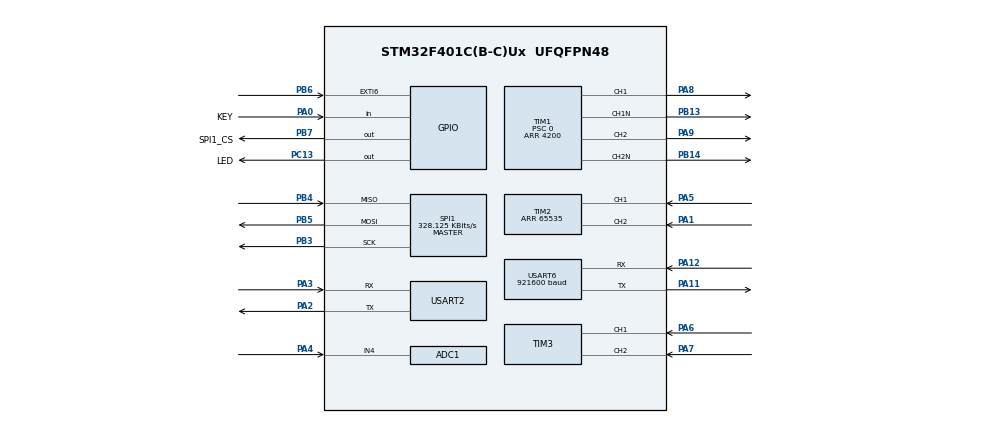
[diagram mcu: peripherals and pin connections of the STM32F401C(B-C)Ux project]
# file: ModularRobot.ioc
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ADC1.Channel-0\#ChannelRegularConversion=ADC_CHANNEL_VREFINT
ADC1.Channel-1\#ChannelRegularConversion=ADC_CHANNEL_4
ADC1.Channel-3\#ChannelRegularConversion=ADC_CHANNEL_TEMPSENSOR
ADC1.ClockPrescaler=ADC_CLOCK_SYNC_PCLK_DIV6
ADC1.ContinuousConvMode=ENABLE
ADC1.DMAContinuousRequests=ENABLE
ADC1.NbrOfConversion=3
ADC1.NbrOfConversionFlag=1
ADC1.Rank-0\#ChannelRegularConversion=1
ADC1.Rank-1\#ChannelRegularConversion=2
ADC1.Rank-3\#ChannelRegularConversion=3
ADC1.SamplingTime-0\#ChannelRegularConversion=ADC_SAMPLETIME_480CYCLES
ADC1.SamplingTime-1\#ChannelRegularConversion=ADC_SAMPLETIME_480CYCLES
ADC1.SamplingTime-3\#ChannelRegularConversion=ADC_SAMPLETIME_480CYCLES
ADC1.master=1
Dma.ADC1.4.Direction=DMA_PERIPH_TO_MEMORY
Dma.ADC1.4.FIFOMode=DMA_FIFOMODE_DISABLE
Dma.ADC1.4.Instance=DMA2_Stream0
Dma.ADC1.4.MemDataAlignment=DMA_MDATAALIGN_HALFWORD
Dma.ADC1.4.MemInc=DMA_MINC_ENABLE
Dma.ADC1.4.Mode=DMA_CIRCULAR
Dma.ADC1.4.PeriphDataAlignment=DMA_PDATAALIGN_HALFWORD
Dma.ADC1.4.PeriphInc=DMA_PINC_DISABLE
Dma.ADC1.4.Priority=DMA_PRIORITY_LOW
Dma.Request0=USART6_RX
Dma.Request1=USART6_TX
Dma.Request2=USART2_RX
Dma.Request3=USART2_TX
Dma.Request4=ADC1
Dma.USART2_RX.2.Direction=DMA_PERIPH_TO_MEMORY
Dma.USART2_RX.2.FIFOMode=DMA_FIFOMODE_DISABLE
Dma.USART2_RX.2.Instance=DMA1_Stream5
Dma.USART2_RX.2.MemDataAlignment=DMA_MDATAALIGN_BYTE
Dma.USART2_RX.2.MemInc=DMA_MINC_ENABLE
Dma.USART2_RX.2.Mode=DMA_CIRCULAR
Dma.USART2_RX.2.PeriphDataAlignment=DMA_PDATAALIGN_BYTE
Dma.USART2_RX.2.PeriphInc=DMA_PINC_DISABLE
Dma.USART2_RX.2.Priority=DMA_PRIORITY_LOW
Dma.USART2_TX.3.Direction=DMA_MEMORY_TO_PERIPH
Dma.USART2_TX.3.FIFOMode=DMA_FIFOMODE_DISABLE
Dma.USART2_TX.3.Instance=DMA1_Stream6
Dma.USART2_TX.3.MemDataAlignment=DMA_MDATAALIGN_BYTE
Dma.USART2_TX.3.MemInc=DMA_MINC_ENABLE
Dma.USART2_TX.3.Mode=DMA_NORMAL
Dma.USART2_TX.3.PeriphDataAlignment=DMA_PDATAALIGN_BYTE
Dma.USART2_TX.3.PeriphInc=DMA_PINC_DISABLE
Dma.USART2_TX.3.Priority=DMA_PRIORITY_LOW
Dma.USART6_RX.0.Direction=DMA_PERIPH_TO_MEMORY
Dma.USART6_RX.0.FIFOMode=DMA_FIFOMODE_DISABLE
Dma.USART6_RX.0.Instance=DMA2_Stream1
Dma.USART6_RX.0.MemDataAlignment=DMA_MDATAALIGN_BYTE
Dma.USART6_RX.0.MemInc=DMA_MINC_ENABLE
Dma.USART6_RX.0.Mode=DMA_CIRCULAR
Dma.USART6_RX.0.PeriphDataAlignment=DMA_PDATAALIGN_BYTE
Dma.USART6_RX.0.PeriphInc=DMA_PINC_DISABLE
Dma.USART6_RX.0.Priority=DMA_PRIORITY_LOW
Dma.USART6_TX.1.Direction=DMA_MEMORY_TO_PERIPH
Dma.USART6_TX.1.FIFOMode=DMA_FIFOMODE_DISABLE
Dma.USART6_TX.1.Instance=DMA2_Stream6
Dma.USART6_TX.1.MemDataAlignment=DMA_MDATAALIGN_BYTE
Dma.USART6_TX.1.MemInc=DMA_MINC_ENABLE
Dma.USART6_TX.1.Mode=DMA_NORMAL
Dma.USART6_TX.1.PeriphDataAlignment=DMA_PDATAALIGN_BYTE
Dma.USART6_TX.1.PeriphInc=DMA_PINC_DISABLE
Dma.USART6_TX.1.Priority=DMA_PRIORITY_LOW
Mcu.Family=STM32F4
Mcu.Name=STM32F401C(B-C)Ux
Mcu.Package=UFQFPN48
NVIC.PriorityGroup=NVIC_PRIORITYGROUP_4
NVIC.TIM1_TRG_COM_TIM11_IRQn=true\:0\:0\:false\:false\:true\:true\:true\:true
NVIC.TIM2_IRQn=true\:0\:0\:false\:false\:true\:true\:true\:true
NVIC.TIM3_IRQn=true\:0\:0\:false\:false\:true\:true\:true\:true
NVIC.USART2_IRQn=true\:1\:0\:true\:false\:true\:true\:true\:true
NVIC.USART6_IRQn=true\:1\:0\:true\:false\:true\:true\:true\:true
PA0-WKUP.GPIO_Label=KEY
PA0-WKUP.GPIO_PuPd=GPIO_PULLUP
PA0-WKUP.Signal=GPIO_Input
PA1.GPIO_PuPd=GPIO_PULLUP
PA1.GPIO_Speed=GPIO_SPEED_FREQ_VERY_HIGH
PA1.Signal=S_TIM2_CH2
PA11.Mode=Asynchronous
PA11.Signal=USART6_TX
PA12.Mode=Asynchronous
PA12.Signal=USART6_RX
PA13.Mode=Serial_Wire
PA13.Signal=SYS_JTMS-SWDIO
PA14.Mode=Serial_Wire
PA14.Signal=SYS_JTCK-SWCLK
PA2.Mode=Asynchronous
PA2.Signal=USART2_TX
PA3.Mode=Asynchronous
PA3.Signal=USART2_RX
PA4.Signal=ADCx_IN4
PA5.GPIO_PuPd=GPIO_PULLUP
PA5.GPIO_Speed=GPIO_SPEED_FREQ_VERY_HIGH
PA5.Signal=S_TIM2_CH1_ETR
PA6.GPIO_PuPd=GPIO_PULLUP
PA6.GPIO_Speed=GPIO_SPEED_FREQ_VERY_HIGH
PA6.Signal=S_TIM3_CH1
PA7.GPIO_PuPd=GPIO_PULLUP
PA7.GPIO_Speed=GPIO_SPEED_FREQ_VERY_HIGH
PA7.Signal=S_TIM3_CH2
PA8.Signal=S_TIM1_CH1
PA9.GPIO_Speed=GPIO_SPEED_FREQ_VERY_HIGH
PA9.Signal=S_TIM1_CH2
PB13.Mode=PWM Generation1 CH1 CH1N
PB13.Signal=TIM1_CH1N
PB14.Mode=PWM Generation2 CH2 CH2N
PB14.Signal=TIM1_CH2N
PB3.GPIO_PuPd=GPIO_PULLUP
PB3.Mode=Full_Duplex_Master
PB3.Signal=SPI1_SCK
PB4.GPIO_PuPd=GPIO_PULLUP
PB4.Mode=Full_Duplex_Master
PB4.Signal=SPI1_MISO
PB5.GPIO_PuPd=GPIO_PULLUP
PB5.Mode=Full_Duplex_Master
PB5.Signal=SPI1_MOSI
PB6.GPIO_PuPd=GPIO_PULLUP
PB6.Signal=GPXTI6
PB7.GPIO_Label=SPI1_CS
PB7.GPIO_PuPd=GPIO_PULLUP
PB7.GPIO_Speed=GPIO_SPEED_FREQ_VERY_HIGH
PB7.PinState=GPIO_PIN_SET
PB7.Signal=GPIO_Output
PC13-ANTI_TAMP.GPIO_Label=LED
PC13-ANTI_TAMP.PinState=GPIO_PIN_SET
PC13-ANTI_TAMP.Signal=GPIO_Output
PH0\ -\ OSC_IN.Mode=HSE-External-Oscillator
PH0\ -\ OSC_IN.Signal=RCC_OSC_IN
PH1\ -\ OSC_OUT.Mode=HSE-External-Oscillator
PH1\ -\ OSC_OUT.Signal=RCC_OSC_OUT
ProjectManager.HeapSize=0x200
ProjectManager.StackSize=0x400
ProjectManager.TargetToolchain=Makefile
RCC.48MHZClocksFreq_Value=42000000
RCC.AHBFreq_Value=84000000
RCC.APB1CLKDivider=RCC_HCLK_DIV2
RCC.APB1Freq_Value=42000000
RCC.APB1TimFreq_Value=84000000
RCC.APB2Freq_Value=84000000
RCC.APB2TimFreq_Value=84000000
RCC.CortexFreq_Value=84000000
RCC.EnbaleCSS=true
RCC.HCLKFreq_Value=84000000
RCC.HSE_VALUE=25000000
RCC.HSI_VALUE=16000000
RCC.LSE_VALUE=32768
RCC.PLLM=25
RCC.PLLN=168
RCC.PLLSourceVirtual=RCC_PLLSOURCE_HSE
RCC.SYSCLKFreq_VALUE=84000000
RCC.SYSCLKSource=RCC_SYSCLKSOURCE_PLLCLK
RCC.VCOOutputFreq_Value=168000000
SH.ADCx_IN4.0=ADC1_IN4,IN4
SH.S_TIM1_CH1.0=TIM1_CH1,PWM Generation1 CH1 CH1N
SH.S_TIM1_CH2.0=TIM1_CH2,PWM Generation2 CH2 CH2N
SH.S_TIM2_CH1_ETR.0=TIM2_CH1,Encoder_Interface
SH.S_TIM2_CH2.0=TIM2_CH2,Encoder_Interface
SH.S_TIM3_CH1.0=TIM3_CH1,Encoder_Interface
SH.S_TIM3_CH2.0=TIM3_CH2,Encoder_Interface
SPI1.BaudRatePrescaler=SPI_BAUDRATEPRESCALER_256
SPI1.CLKPhase=SPI_PHASE_2EDGE
SPI1.CLKPolarity=SPI_POLARITY_HIGH
SPI1.CalculateBaudRate=328.125 KBits/s
SPI1.Direction=SPI_DIRECTION_2LINES
SPI1.Mode=SPI_MODE_MASTER
SPI1.VirtualType=VM_MASTER
TIM1.AutoReloadPreload=TIM_AUTORELOAD_PRELOAD_DISABLE
TIM1.Channel-PWM\ Generation1\ CH1\ CH1N=TIM_CHANNEL_1
TIM1.Channel-PWM\ Generation2\ CH2\ CH2N=TIM_CHANNEL_2
TIM1.OCNPolarity_1=TIM_OCNPOLARITY_LOW
TIM1.OCNPolarity_2=TIM_OCNPOLARITY_LOW
TIM1.Period=4200
TIM1.Prescaler=0
TIM11.Period=1000
TIM11.Prescaler=83
TIM2.EncoderMode=TIM_ENCODERMODE_TI12
TIM2.Period=65535
TIM3.EncoderMode=TIM_ENCODERMODE_TI12
USART2.VirtualMode=VM_ASYNC
USART6.BaudRate=921600
USART6.VirtualMode=VM_ASYNC
VP_ADC1_TempSens_Input.Mode=IN-TempSens
VP_ADC1_Vref_Input.Mode=IN-Vrefint
VP_TIM11_VS_ClockSourceINT.Mode=Enable_Timer
VP_TIM1_VS_ClockSourceINT.Mode=Internal
board=custom

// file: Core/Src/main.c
/* USER CODE BEGIN Header */
/**
  ******************************************************************************
  * @file           : main.c
  * @brief          : Main program body
  ******************************************************************************
  * @attention
  *
  * Copyright (c) 2023 STMicroelectronics.
  * All rights reserved.
  *
  * This software is licensed under terms that can be found in the LICENSE file
  * in the root directory of this software component.
  * If no LICENSE file comes with this software, it is provided AS-IS.
  *
  ******************************************************************************
  */
/* USER CODE END Header */
#include "main.h"
#include "adc.h"
#include "dma.h"
#include "spi.h"
#include "tim.h"
#include "usart.h"
#include "gpio.h"

/* USER CODE BEGIN PV */
volatile uint8_t timer_1ms = 0;
uint8_t timer_10ms = 0;
uint8_t timer_5ms = 0;
uint8_t timer_100ms = 0;
uint8_t timer_300ms = 0;
uint8_t timer_500ms = 0;
uint8_t blink_count = 0;
uint16_t rxLen = 0;
char buffer[128] = {0};
char command_buffer[MAX_COMMAND_WORD_LENGTH] = {0};
float arg_buffer[MAX_FLOAT_ARG_COUNT] = {0.0f};
uint8_t arg_buffer_len = 0;
/* USER CODE END PV */

void SystemClock_Config(void);
/* USER CODE BEGIN PFP */
void UART_CommandHandler(UART_InstanceTypeDef *uart_handler);
/* USER CODE END PFP */

int main(void)
{

  /* MCU Configuration--------------------------------------------------------*/

  /* Reset of all peripherals, Initializes the Flash interface and the Systick. */
  LL_APB2_GRP1_EnableClock(LL_APB2_GRP1_PERIPH_SYSCFG);
  LL_APB1_GRP1_EnableClock(LL_APB1_GRP1_PERIPH_PWR);

  /* System interrupt init*/
  NVIC_SetPriorityGrouping(NVIC_PRIORITYGROUP_4);

  /* SysTick_IRQn interrupt configuration */
  NVIC_SetPriority(SysTick_IRQn, NVIC_EncodePriority(NVIC_GetPriorityGrouping(),15, 0));

  /* Configure the system clock */
  SystemClock_Config();

  /* Initialize all configured peripherals */
  MX_GPIO_Init();
  MX_DMA_Init();
  MX_TIM2_Init();
  MX_TIM1_Init();
  MX_USART6_UART_Init();
  MX_SPI1_Init();
  MX_TIM3_Init();
  MX_USART2_UART_Init();
  MX_TIM11_Init();
  MX_ADC1_Init();
  /* USER CODE BEGIN 2 */
  DWT_Delay_Init();
  // LL Driver turns off SysTick_Handler() interrupt without SysTick_CTRL_TICKINT_Msk set.
  SysTick->CTRL = SysTick_CTRL_CLKSOURCE_Msk |
                  SysTick_CTRL_TICKINT_Msk |
                  SysTick_CTRL_ENABLE_Msk;
  ADC_HandlerInit(); // Analog Digital Converter
  UART_InstanceInit(&UART2_Handler, USART2, DMA1, LL_DMA_STREAM_5, DMA1, LL_DMA_STREAM_6, 128);
  UART_InstanceInit(&UART6_Handler, USART6, DMA2, LL_DMA_STREAM_1, DMA2, LL_DMA_STREAM_6, 128);
  Key_InstanceInit(&Key_Onboard, KEY_GPIO_Port, KEY_Pin, 0);
  Key_RegisterCallback(&Key_Onboard, Key_Onboard_Callback);
  // UART_printf(&UART1_Handler, 1, "ModularRobot: Hello World!\n");
  GY953_Init();
  control_init();
  /* USER CODE END 2 */

  /* Infinite loop */
  /* USER CODE BEGIN WHILE */
  while (1)
  {
    if(UART2_Handler.rx_finished_flag)
    {
      UART_CommandHandler(&UART2_Handler);
      UART2_Handler.rx_finished_flag = 0;
    }
    if(UART6_Handler.rx_finished_flag)
    {
      UART_CommandHandler(&UART6_Handler);
      UART6_Handler.rx_finished_flag = 0;
    }
    if(timer_1ms)
    {
      if(timer_5ms >= 4)
      {
        if(timer_10ms >= 1)
        {
          // LED 灯控部分
          if(timer_100ms >= 9)
          {
            if(current_mode == 4 || (current_mode == 3 && turn_state_flag == 3) || (!gy953_accel_state || !gy953_gyro_state))
            {
              LL_GPIO_TogglePin(LED_GPIO_Port, LED_Pin);
            }
            else if(pid_state == 0 && current_mode == 0)
            {
              LL_GPIO_SetOutputPin(LED_GPIO_Port, LED_Pin);
            }
            else
            {
              if(current_mode == 3 && turn_state_flag == 1 && blink_count < 5)
              {
                LL_GPIO_TogglePin(LED_GPIO_Port, LED_Pin);
                blink_count++;
                if(blink_count == 5) LL_GPIO_SetOutputPin(LED_GPIO_Port, LED_Pin);
              }
              if(timer_300ms >= 2)
              {
                if(current_mode == 1)
                {
                  if(!stable_flag) LL_GPIO_TogglePin(LED_GPIO_Port, LED_Pin);
                  else LL_GPIO_ResetOutputPin(LED_GPIO_Port, LED_Pin);
                }
                else if(current_mode == 3)
                {
                  if(turn_state_flag == 1)
                  {
                    if(blink_count >= 5)
                    {
                      blink_count++;
                      if(blink_count > 6) blink_count = 0;
                    }
                  }
                  else if(turn_state_flag == 2) LL_GPIO_TogglePin(LED_GPIO_Port, LED_Pin);
                }
                timer_300ms = 0;
              }
              else timer_300ms++;
              if(timer_500ms >= 4)
              {
                if(current_mode == 2)
                {
                  if(!stable_flag) LL_GPIO_TogglePin(LED_GPIO_Port, LED_Pin);
                  else LL_GPIO_ResetOutputPin(LED_GPIO_Port, LED_Pin);
                }
                else if(current_mode == 5)
                {
                  LL_GPIO_TogglePin(LED_GPIO_Port, LED_Pin);
                }
                timer_500ms = 0;
              }
              else timer_500ms++;
            }
            timer_100ms = 0;
          }
          else timer_100ms++;
          // LED 灯控部分结束
          vofa_add_float(0, roll);
          vofa_add_float(1, pitch);
          vofa_add_float(2, yaw);
          vofa_add_float(3, gyro_x);
          vofa_add_float(4, gyro_y);
          vofa_add_float(5, gyro_z);
          vofa_add_float(6, (float)Motor_Left.encoder.velocity);
          vofa_add_float(7, (float)Motor_Right.encoder.velocity);
          vofa_add_float(8, (float)Motor_Left.encoder.distance);
          vofa_add_float(9, (float)Motor_Right.encoder.distance);
          vofa_add_float(10, (float)angle_target);
          vofa_add_float(11, (float)yaw_target);
          vofa_add_float(12, (float)distance_target);
          // vofa_add_float(8, (float)angle_pid.P);
          // vofa_add_float(9, (float)angle_pid.I);
          // vofa_add_float(10, (float)angle_pid.D);
          vofa_add_float(13, (float)current_mode);
          vofa_add_float(14, (float)yaw_set_flag);
          vofa_add_float(15, (float)yaw_correction_mode);
          vofa_add_float(16, (float)turn_state_flag);
          vofa_add_float(17, (float)stable_flag);
          vofa_add_float(18, (float)control_state);
          vofa_add_float(19, (float)pid_state);
          vofa_add_float(20, (float)gy953_magnetic_state);
          vofa_add_float(21, (float)gy953_accel_state);
          vofa_add_float(22, (float)gy953_gyro_state);
          vofa_add_float(23, ADC_GetVin());
          vofa_send_data();
          Key_InstanceUpdate(&Key_Onboard);
          timer_10ms = 0;
        }
        else timer_10ms++;
        GY953_IRQHandler();
        gyro_x = LPFilter_GetOutput(&gyro_x_filter, gyro_x);
        gyro_y = LPFilter_GetOutput(&gyro_y_filter, gyro_y);
        gyro_z = LPFilter_GetOutput(&gyro_z_filter, gyro_z);
        // yaw = SlidingFilter_GetOutput(&yaw_filter, get_calibrated_yaw((float)pitch, (float)roll, (float)mag_x_raw, (float)mag_y_raw, (float)mag_z_raw));
        yaw = SlidingFilter_GetOutput(&yaw_filter, yaw);
        timer_5ms = 0;
      }
      else timer_5ms++;
      timer_1ms = 0;
    }
    /* USER CODE END WHILE */

  }
}

void SystemClock_Config(void)
{
  LL_FLASH_SetLatency(LL_FLASH_LATENCY_2);
  while(LL_FLASH_GetLatency()!= LL_FLASH_LATENCY_2)
  {
  }
  LL_PWR_SetRegulVoltageScaling(LL_PWR_REGU_VOLTAGE_SCALE2);
  LL_RCC_HSE_Enable();

   /* Wait till HSE is ready */
  while(LL_RCC_HSE_IsReady() != 1)
  {

  }
  LL_RCC_HSE_EnableCSS();
  LL_RCC_PLL_ConfigDomain_SYS(LL_RCC_PLLSOURCE_HSE, LL_RCC_PLLM_DIV_25, 168, LL_RCC_PLLP_DIV_2);
  LL_RCC_PLL_Enable();

   /* Wait till PLL is ready */
  while(LL_RCC_PLL_IsReady() != 1)
  {

  }
  while (LL_PWR_IsActiveFlag_VOS() == 0)
  {
  }
  LL_RCC_SetAHBPrescaler(LL_RCC_SYSCLK_DIV_1);
  LL_RCC_SetAPB1Prescaler(LL_RCC_APB1_DIV_2);
  LL_RCC_SetAPB2Prescaler(LL_RCC_APB2_DIV_1);
  LL_RCC_SetSysClkSource(LL_RCC_SYS_CLKSOURCE_PLL);

   /* Wait till System clock is ready */
  while(LL_RCC_GetSysClkSource() != LL_RCC_SYS_CLKSOURCE_STATUS_PLL)
  {

  }
  LL_Init1msTick(84000000);
  LL_SetSystemCoreClock(84000000);
  LL_RCC_SetTIMPrescaler(LL_RCC_TIM_PRESCALER_TWICE);
}

/* USER CODE BEGIN 4 */
void UART_CommandHandler(UART_InstanceTypeDef *uart_handler)
{
  rxLen = UART_GetRxLen(uart_handler);
  if(rxLen > 0)
  {
    UART_GetRxFifo(uart_handler, buffer, rxLen);
    if(buffer[rxLen-1] == '\r' || buffer[rxLen-1] == ';' || buffer[rxLen-1] == '\n')
    {
      getCommand(buffer, rxLen, command_buffer);
      splitData_f(buffer, rxLen, arg_buffer, &arg_buffer_len, ' ');
      if(arg_buffer_len == 1)
      {
        if(strcmp(command_buffer, "control_state") == 0)
        {
          control_state = (uint8_t)arg_buffer[0] ? 1 : 0;
          main_speed = 0;
          turn_speed = 0;
        }
        else if(strcmp(command_buffer, "pid_state") == 0)
        {
          pid_state = (uint8_t)arg_buffer[0] ? 1 : 0;
          main_speed = 0;
          turn_speed = 0;
        }
        else if(strcmp(command_buffer, "calibrate") == 0)
        {
          if(arg_buffer[0] == 1) GY953_Calibrate();
          else if(arg_buffer[0] == 2) GY953_CalibrateMag();
        }
        else if(strcmp(command_buffer, "angle_kp") == 0)        angle_pid.P = (float)arg_buffer[0];
        else if(strcmp(command_buffer, "angle_ki") == 0)        angle_pid.I = (float)arg_buffer[0];
        else if(strcmp(command_buffer, "angle_kd") == 0)        angle_pid.D = (float)arg_buffer[0];
        else if(strcmp(command_buffer, "omega_kp") == 0)        omega_pid.P = (float)arg_buffer[0];
        else if(strcmp(command_buffer, "omega_ki") == 0)        omega_pid.I = (float)arg_buffer[0];
        else if(strcmp(command_buffer, "omega_kd") == 0)        omega_pid.D = (float)arg_buffer[0];
        else if(strcmp(command_buffer, "yaw_kp") == 0)          yaw_pid.P = (float)arg_buffer[0];
        else if(strcmp(command_buffer, "yaw_ki") == 0)          yaw_pid.I = (float)arg_buffer[0];
        else if(strcmp(command_buffer, "yaw_kd") == 0)          yaw_pid.D = (float)arg_buffer[0];
        else if(strcmp(command_buffer, "yaw_target") == 0)      yaw_target = (float)arg_buffer[0];
        else if(strcmp(command_buffer, "angle_target") == 0)    angle_target = (float)arg_buffer[0];
        else if(strcmp(command_buffer, "left_speed") == 0)      Motor_Left.value = (float)arg_buffer[0];
        else if(strcmp(command_buffer, "right_speed") == 0)     Motor_Right.value = (float)arg_buffer[0];
        else if(strcmp(command_buffer, "left_vel_kp") == 0)     Motor_Left.velocity_pid.P = (float)arg_buffer[0];
        else if(strcmp(command_buffer, "left_vel_ki") == 0)     Motor_Left.velocity_pid.I = (float)arg_buffer[0];
        else if(strcmp(command_buffer, "left_vel_kd") == 0)     Motor_Left.velocity_pid.D = (float)arg_buffer[0];
        else if(strcmp(command_buffer, "current_mode") == 0)    current_mode = (uint8_t)arg_buffer[0];
        else if(strcmp(command_buffer, "yaw_correct") == 0)     yaw_correction_mode = (uint8_t)arg_buffer[0];
        else if(strcmp(command_buffer, "distance_target") == 0)
        {
          if(current_mode == 5)
          {
            set_distance_target((float)arg_buffer[0]);
          }
        }
      }
      else if(arg_buffer_len == 2)
      {
        if(strcmp(command_buffer, "move") == 0)
        {
          main_speed = (float)arg_buffer[1];
          turn_speed = (float)arg_buffer[0];
        }
      }
    }
  }
}

/* USER CODE END 4 */

void Error_Handler(void)
{
  __disable_irq();
  while (1)
  {
  }
}
